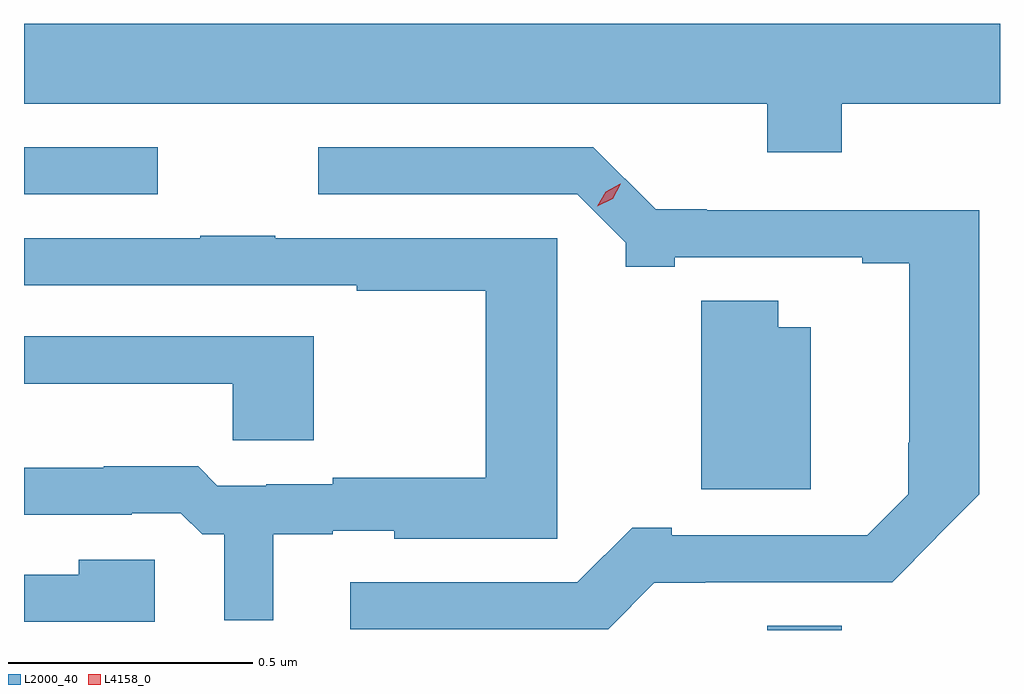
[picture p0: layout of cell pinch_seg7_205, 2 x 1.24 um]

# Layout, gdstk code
import gdstk
lib = gdstk.Library(unit=1e-6, precision=1e-09)
def R(c, l, rs):  # rectangles x0, y0, x1, y1
    for r in rs: c.add(gdstk.rectangle(r[:2], r[2:], *l))
def P(c, l, *ps):  # polygons
    for p in ps: c.add(gdstk.Polygon(p, *l))
L2000_40 = (2000, 40)
L4158_0 = (4158, 0)

pinch_seg7_205 = lib.new_cell('pinch_seg7_205')
R(pinch_seg7_205, L2000_40, [(1134.287,1004.866,1134.44,1004.875), (1132.764,1005.759,1133.038,1005.855)])
P(pinch_seg7_205, L2000_40, [(1134.44,1005.944),(1134.764,1005.944),(1134.764,1006.108),(1132.764,1006.108),(1132.764,1005.944),(1134.287,1005.944),(1134.287,1005.845),(1134.44,1005.845)],
  [(1134.056,1004.963),(1134.16,1004.963),(1134.16,1004.964),(1134.543,1004.964),(1134.633,1005.055),(1134.632,1005.055),(1134.721,1005.144),(1134.721,1005.726),(1134.163,1005.726),(1134.163,1005.728),(1134.059,1005.728),(1133.931,1005.855),(1133.367,1005.855),(1133.367,1005.759),(1133.898,1005.759),(1133.997,1005.66),(1133.997,1005.61),(1134.097,1005.61),(1134.097,1005.63),(1134.482,1005.63),(1134.482,1005.618),(1134.578,1005.618),(1134.578,1005.25),(1134.576,1005.25),(1134.576,1005.144),(1134.492,1005.06),(1134.091,1005.06),(1134.091,1005.076),(1134.01,1005.076),(1133.898,1004.964),(1133.433,1004.964),(1133.433,1004.868),(1133.961,1004.868)],
  [(1133.275,1005.062),(1133.397,1005.062),(1133.397,1005.069),(1133.523,1005.069),(1133.523,1005.053),(1133.857,1005.053),(1133.857,1005.669),(1133.279,1005.669),(1133.279,1005.674),(1133.125,1005.674),(1133.125,1005.669),(1132.764,1005.669),(1132.764,1005.573),(1133.446,1005.573),(1133.446,1005.561),(1133.71,1005.561),(1133.71,1005.178),(1133.397,1005.178),(1133.397,1005.165),(1133.26,1005.165),(1133.26,1005.162),(1133.16,1005.162),(1133.121,1005.202),(1132.927,1005.202),(1132.927,1005.199),(1132.764,1005.199),(1132.764,1005.102),(1132.985,1005.102),(1132.985,1005.105),(1133.085,1005.105),(1133.129,1005.062),(1133.174,1005.062),(1133.174,1004.886),(1133.275,1004.886)],
  [(1134.376,1005.487),(1134.31,1005.487),(1134.31,1005.541),(1134.152,1005.541),(1134.152,1005.155),(1134.376,1005.155)],
  [(1133.358,1005.468),(1132.764,1005.468),(1132.764,1005.371),(1133.192,1005.371),(1133.192,1005.255),(1133.358,1005.255)],
  [(1133.032,1005.01),(1132.876,1005.01),(1132.876,1004.979),(1132.764,1004.979),(1132.764,1004.883),(1133.032,1004.883)])
P(pinch_seg7_205, L4158_0, [(1133.939,1005.734),(1133.939,1005.734),(1133.956,1005.764),(1133.986,1005.781),(1133.987,1005.781),(1133.987,1005.781),(1133.97,1005.75),(1133.939,1005.734)])

lib.write_gds('pinch_seg7_205.gds')
